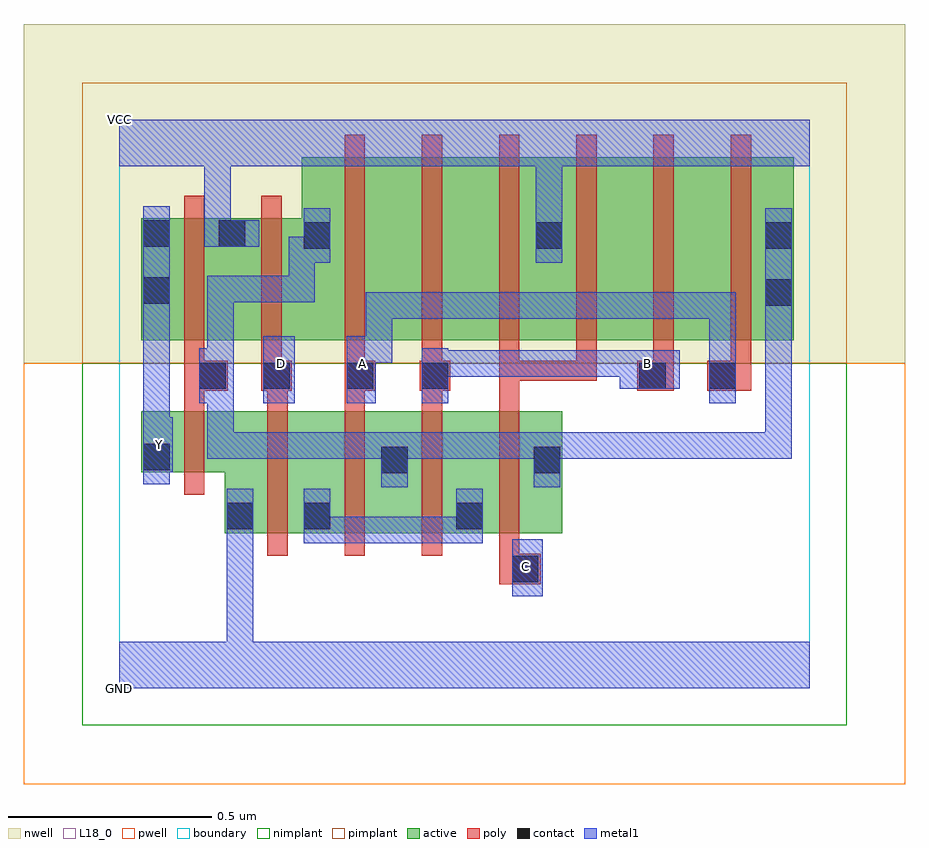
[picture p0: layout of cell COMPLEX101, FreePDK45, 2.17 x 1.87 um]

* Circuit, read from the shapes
.subckt COMPLEX101 A B C D GND VCC Y
M1 GND n1 Y VSUBS nfet w=0.15u l=0.05u
M2 n2 D GND VSUBS nfet w=0.3u l=0.05u
M3 n1 A n2 VSUBS nfet w=0.3u l=0.05u
M4 n2 B n1 VSUBS nfet w=0.3u l=0.05u
M5 n1 C n2 VSUBS nfet w=0.3u l=0.05u
M6 VCC n1 Y n3 pfet w=0.3u l=0.05u
M7 n1 D VCC n3 pfet w=0.3u l=0.05u
M8 n4 A n1 n3 pfet w=0.45u l=0.05u
M9 n5 B n4 n3 pfet w=0.45u l=0.05u
M10 VCC C n5 n3 pfet w=0.45u l=0.05u
M11 n6 C VCC n3 pfet w=0.45u l=0.05u
M12 n7 B n6 n3 pfet w=0.45u l=0.05u
M13 n1 A n7 n3 pfet w=0.45u l=0.05u
.ends

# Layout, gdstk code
import gdstk
lib = gdstk.Library(unit=1e-6, precision=1e-09)
def R(c, l, rs):  # rectangles x0, y0, x1, y1
    for r in rs: c.add(gdstk.rectangle(r[:2], r[2:], *l))
def A(c, l, x, y, w, h, nx, ny, dx, dy):  # array of equal rectangles
    R(c, l, [(x+i*dx, y+j*dy, x+i*dx+w, y+j*dy+h) for i in range(nx) for j in range(ny)])
active = (1, 0)
pwell = (2, 0)
nwell = (3, 0)
nimplant = (4, 0)
pimplant = (5, 0)
poly = (9, 0)
contact = (10, 0)
metal1 = (11, 0)
L18_0 = (18, 0)
boundary = (235, 0)

complex101 = lib.new_cell('COMPLEX101')
R(complex101, active, [(0.26,0.382,0.525,0.682), (0.26,0.382,0.335,0.547), (0.45,0.382,0.715,0.682), (0.45,0.382,0.525,0.547), (0.64,0.382,0.9,0.682), (0.64,0.382,0.715,0.6), (0.825,0.382,1.09,0.682), (0.825,0.382,0.9,0.547), (1.015,0.407,1.09,0.682), (0.055,0.532,0.335,0.682), (0.055,0.532,0.13,0.682), (0.055,0.857,0.315,1.157), (0.055,0.857,0.13,1.157), (0.24,0.857,0.525,1.157), (0.45,0.857,0.525,1.2), (0.45,0.857,0.675,1.307), (0.675,0.857,0.865,1.307), (0.865,0.857,1.095,1.307), (1.02,0.857,1.245,1.307), (1.02,0.857,1.095,1.307), (1.245,0.857,1.435,1.307), (1.435,0.857,1.66,1.307), (1.585,0.857,1.66,1.2), (0.24,1.007,0.315,1.157)])
R(complex101, pwell, [(-0.235,-0.235,1.935,0.8)])
R(complex101, nwell, [(-0.235,0.8,1.935,1.635)])
R(complex101, nimplant, [(-0.09,-0.09,1.79,0.8)])
R(complex101, pimplant, [(-0.09,0.8,1.79,1.49)])
A(complex101, poly, 0.365, 0.327, 0.05, 0.41, 4, 1, 0.19, 0)
A(complex101, poly, 0.365, 0.687, 0.05, 0.095, 3, 1, 0.19, 0)
A(complex101, poly, 0.555, 0.757, 0.05, 0.095, 6, 1, 0.19, 0)
A(complex101, poly, 0.555, 0.802, 0.05, 0.56, 6, 1, 0.19, 0)
R(complex101, poly, [(0.935,0.257,1.037,0.332), (0.935,0.282,0.985,0.377), (0.16,0.477,0.21,0.737), (0.16,0.687,0.21,0.782), (0.935,0.687,0.985,0.807), (0.16,0.732,0.267,0.807), (0.35,0.732,0.425,0.807), (0.555,0.732,0.63,0.807), (0.74,0.732,0.815,0.807), (1.275,0.732,1.365,0.807), (1.447,0.732,1.555,0.807), (0.16,0.757,0.21,0.852), (0.35,0.757,0.4,0.852), (0.935,0.757,0.985,0.807), (0.935,0.757,1.175,0.807), (1.125,0.757,1.175,0.807), (1.125,0.757,1.175,0.807), (1.125,0.757,1.175,0.807), (0.16,0.802,0.21,1.212), (0.35,0.802,0.4,1.212)])
R(complex101, contact, [(0.967,0.262,1.032,0.327), (0.265,0.392,0.33,0.457), (0.455,0.392,0.52,0.457), (0.83,0.392,0.895,0.457), (0.645,0.53,0.71,0.595), (1.02,0.53,1.085,0.595), (0.06,0.537,0.125,0.602), (0.197,0.737,0.262,0.802), (0.355,0.737,0.42,0.802), (0.56,0.737,0.625,0.802), (0.745,0.737,0.81,0.802), (1.28,0.737,1.345,0.802), (1.452,0.737,1.517,0.802), (1.59,0.942,1.655,1.007), (0.06,0.947,0.125,1.012), (0.455,1.082,0.52,1.147), (1.025,1.082,1.09,1.147), (1.59,1.082,1.655,1.147), (0.06,1.087,0.125,1.152), (0.245,1.087,0.31,1.152)])
R(complex101, metal1, [(0,0,1.7,0.115), (0.265,0.05,0.33,0.422), (0.967,0.227,1.042,0.367), (0.265,0.357,0.33,0.422), (0.265,0.357,0.33,0.422), (0.265,0.357,0.33,0.422), (0.265,0.357,0.33,0.422), (0.265,0.357,0.33,0.422), (0.265,0.357,0.33,0.422), (0.265,0.357,0.33,0.492), (0.455,0.357,0.52,0.492), (0.455,0.357,0.657,0.422), (0.592,0.357,0.657,0.422), (0.592,0.357,0.657,0.422), (0.592,0.357,0.657,0.422), (0.592,0.357,0.81,0.422), (0.745,0.357,0.81,0.422), (0.745,0.357,0.895,0.422), (0.83,0.357,0.895,0.492), (0.645,0.495,0.71,0.63), (1.02,0.495,1.085,0.63), (0.06,0.502,0.125,0.637), (0.06,0.532,0.132,0.667), (0.217,0.565,0.282,0.63), (0.217,0.565,0.487,0.63), (0.217,0.565,0.282,0.837), (0.422,0.565,0.487,0.63), (0.422,0.565,0.487,0.63), (0.422,0.565,0.487,0.63), (0.422,0.565,0.657,0.63), (0.592,0.565,0.657,0.63), (0.592,0.565,0.71,0.63), (0.645,0.565,0.795,0.63), (0.73,0.565,0.795,0.63), (0.73,0.565,0.947,0.63), (0.882,0.565,0.947,0.63), (0.882,0.565,0.947,0.63), (0.882,0.565,0.947,0.63), (0.882,0.565,1.085,0.63), (1.02,0.565,1.085,0.63), (1.02,0.565,1.085,0.63), (1.02,0.565,1.38,0.63), (1.315,0.565,1.38,0.63), (1.315,0.565,1.38,0.63), (1.315,0.565,1.38,0.63), (1.315,0.565,1.517,0.63), (1.452,0.565,1.517,0.63), (1.452,0.565,1.655,0.63), (1.59,0.565,1.655,0.972), (1.59,0.565,1.655,0.63), (1.59,0.565,1.655,0.63), (1.59,0.565,1.655,0.63), (1.59,0.565,1.655,0.63), (1.59,0.565,1.655,0.63), (0.06,0.572,0.125,0.637), (0.06,0.602,0.125,0.977), (0.197,0.702,0.262,0.837), (0.355,0.702,0.432,0.867), (0.56,0.702,0.632,0.867), (0.745,0.702,0.81,0.837), (1.452,0.702,1.517,0.837), (1.232,0.737,1.38,0.832), (0.745,0.767,0.947,0.832), (0.882,0.767,0.947,0.832), (0.882,0.767,0.947,0.832), (0.882,0.767,0.947,0.832), (0.882,0.767,1.16,0.832), (1.095,0.767,1.16,0.832), (1.095,0.767,1.16,0.832), (1.095,0.767,1.16,0.832), (1.095,0.767,1.297,0.832), (1.232,0.767,1.297,0.832), (1.232,0.767,1.297,0.832), (0.197,0.772,0.282,0.837), (0.217,0.772,0.282,0.837), (0.217,0.772,0.282,1.015), (1.452,0.772,1.517,0.837), (1.452,0.772,1.517,0.837), (1.452,0.772,1.517,0.975), (0.567,0.802,0.672,0.867), (0.607,0.802,0.672,0.867), (0.607,0.802,0.672,0.975), (1.59,0.907,1.655,1.182), (0.607,0.91,0.672,0.975), (0.607,0.91,0.81,0.975), (0.745,0.91,0.81,0.975), (0.745,0.91,0.947,0.975), (0.882,0.91,0.947,0.975), (0.882,0.91,0.947,0.975), (0.882,0.91,0.947,0.975), (0.882,0.91,1.16,0.975), (1.095,0.91,1.16,0.975), (1.095,0.91,1.16,0.975), (1.095,0.91,1.16,0.975), (1.095,0.91,1.297,0.975), (1.232,0.91,1.297,0.975), (1.232,0.91,1.297,0.975), (1.232,0.91,1.297,0.975), (1.232,0.91,1.517,0.975), (1.452,0.91,1.517,0.975), (0.06,0.912,0.125,1.187), (0.217,0.95,0.282,1.015), (0.217,0.95,0.482,1.015), (0.417,0.95,0.482,1.112), (0.417,1.047,0.52,1.112), (0.455,1.047,0.52,1.182), (1.025,1.047,1.09,1.182), (0.21,1.087,0.275,1.35), (0.21,1.087,0.345,1.152), (1.025,1.117,1.09,1.35), (0,1.285,1.7,1.4), (0.21,1.285,0.275,1.35), (0.21,1.285,0.275,1.35)])
R(complex101, L18_0, [(0,0,1.7,0.115), (0.265,0.05,0.33,0.422), (0.967,0.227,1.042,0.367), (0.967,0.267,1.032,0.332), (0.265,0.357,0.33,0.492), (0.265,0.357,0.33,0.422), (0.265,0.357,0.33,0.422), (0.265,0.357,0.33,0.422), (0.265,0.357,0.33,0.422), (0.265,0.357,0.33,0.422), (0.265,0.357,0.33,0.422), (0.06,0.502,0.125,0.637), (0.06,0.532,0.132,0.667), (0.067,0.567,0.132,0.632), (0.06,0.572,0.125,0.637), (0.06,0.602,0.125,0.977), (0.355,0.702,0.432,0.867), (0.56,0.702,0.632,0.867), (0.745,0.702,0.81,0.837), (1.452,0.702,1.517,0.837), (1.232,0.737,1.38,0.832), (0.367,0.767,0.432,0.832), (0.567,0.767,0.632,0.832), (0.745,0.767,0.947,0.832), (0.882,0.767,0.947,0.832), (0.882,0.767,0.947,0.832), (0.882,0.767,0.947,0.832), (0.882,0.767,1.16,0.832), (1.095,0.767,1.16,0.832), (1.095,0.767,1.16,0.832), (1.095,0.767,1.16,0.832), (1.095,0.767,1.297,0.832), (1.232,0.767,1.297,0.832), (1.232,0.767,1.297,0.832), (1.267,0.767,1.332,0.832), (1.452,0.772,1.517,0.837), (1.452,0.772,1.517,0.837), (1.452,0.772,1.517,0.975), (0.567,0.802,0.672,0.867), (0.607,0.802,0.672,0.867), (0.607,0.802,0.672,0.975), (0.607,0.91,0.672,0.975), (0.607,0.91,0.81,0.975), (0.745,0.91,0.81,0.975), (0.745,0.91,0.947,0.975), (0.882,0.91,0.947,0.975), (0.882,0.91,0.947,0.975), (0.882,0.91,0.947,0.975), (0.882,0.91,1.16,0.975), (1.095,0.91,1.16,0.975), (1.095,0.91,1.16,0.975), (1.095,0.91,1.16,0.975), (1.095,0.91,1.297,0.975), (1.232,0.91,1.297,0.975), (1.232,0.91,1.297,0.975), (1.232,0.91,1.297,0.975), (1.232,0.91,1.517,0.975), (1.452,0.91,1.517,0.975), (0.06,0.912,0.125,1.187), (1.025,1.047,1.09,1.182), (0.21,1.087,0.345,1.152), (0.21,1.087,0.275,1.35), (1.025,1.117,1.09,1.35), (0,1.285,1.7,1.4), (0.21,1.285,0.275,1.35), (0.21,1.285,0.275,1.35)])
R(complex101, boundary, [(0,0,1.7,1.4)])
complex101.add(gdstk.Label('A', (0.6,0.8), layer=11, texttype=0))
complex101.add(gdstk.Label('B', (1.3,0.8), layer=11, texttype=0))
complex101.add(gdstk.Label('C', (1,0.3), layer=11, texttype=0))
complex101.add(gdstk.Label('D', (0.4,0.8), layer=11, texttype=0))
complex101.add(gdstk.Label('Y', (0.1,0.6), layer=11, texttype=0))
complex101.add(gdstk.Label('VCC', (0,1.4), layer=11, texttype=0))
complex101.add(gdstk.Label('GND', (0,0), layer=11, texttype=0))

lib.write_gds('COMPLEX101.gds')
